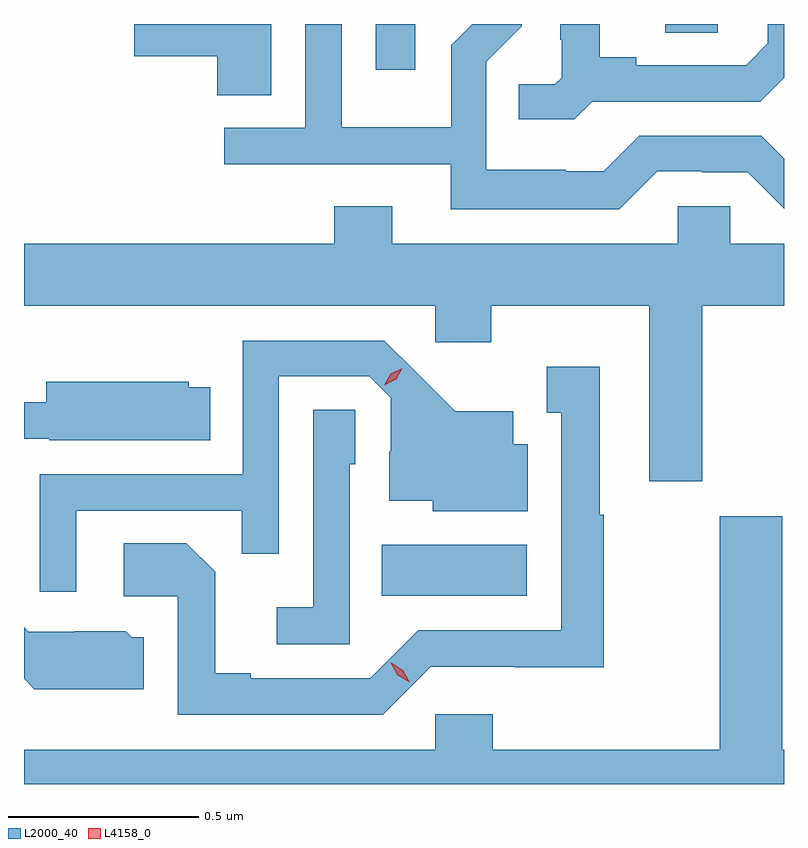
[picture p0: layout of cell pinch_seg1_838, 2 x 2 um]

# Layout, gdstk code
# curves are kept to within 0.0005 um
import gdstk
lib = gdstk.Library(unit=1e-6, precision=1e-09)
def R(c, l, rs):  # rectangles x0, y0, x1, y1
    for r in rs: c.add(gdstk.rectangle(r[:2], r[2:], *l))
def P(c, l, *ps):  # polygons
    for p in ps: c.add(gdstk.Polygon(p, *l))
L2000_40 = (2000, 40)
L4158_0 = (4158, 0)

pinch_seg1_838 = lib.new_cell('pinch_seg1_838')
R(pinch_seg1_838, L2000_40, [(470.812,561.626,471.193,561.76), (470.795,563.01,470.899,563.13), (471.557,563.107,471.696,563.13)])
P(pinch_seg1_838, L2000_40, [(471.537,562.743),(471.654,562.743),(471.654,562.74),(471.774,562.74),(471.87,562.644),(471.87,562.776),(471.81,562.836),(471.489,562.836),(471.396,562.743),(471.296,562.743),(471.296,562.747),(471.087,562.747),(471.087,563.031),(471.18,563.124),(471.18,563.13),(471.05,563.13),(470.994,563.074),(470.994,562.858),(470.706,562.858),(470.706,563.13),(470.61,563.13),(470.61,562.857),(470.397,562.857),(470.397,562.761),(470.993,562.761),(470.993,562.643),(471.437,562.643)],
  [(471.366,562.926),(471.808,562.926),(471.87,562.988),(471.87,563.13),(471.827,563.13),(471.827,563.079),(471.77,563.022),(471.481,563.022),(471.481,563.042),(471.385,563.042),(471.385,563.13),(471.281,563.13),(471.281,563.089),(471.285,563.089),(471.285,562.989),(471.267,562.971),(471.172,562.971),(471.172,562.879),(471.318,562.879)],
  [(470.521,563.13),(470.16,563.13),(470.16,563.045),(470.378,563.045),(470.378,562.942),(470.521,562.942)],
  [(471.655,562.388),(471.87,562.388),(471.87,562.552),(471.729,562.552),(471.729,562.65),(471.591,562.65),(471.591,562.552),(470.839,562.552),(470.839,562.651),(470.687,562.651),(470.687,562.552),(469.87,562.552),(469.87,562.388),(470.952,562.388),(470.952,562.293),(471.099,562.293),(471.099,562.388),(471.515,562.388),(471.515,561.927),(471.655,561.927)],
  [(470.007,561.849),(470.443,561.849),(470.443,561.736),(470.541,561.736),(470.541,562.203),(470.778,562.203),(470.835,562.146),(470.835,562.004),(470.831,562.004),(470.831,561.875),(470.946,561.875),(470.946,561.848),(471.196,561.848),(471.196,562.024),(471.157,562.024),(471.157,562.111),(471.005,562.111),(470.818,562.296),(470.445,562.296),(470.445,561.945),(469.911,561.945),(469.911,561.636),(470.007,561.636)],
  [(470.94,561.438),(471.162,561.438),(471.162,561.437),(471.395,561.437),(471.395,561.839),(471.385,561.839),(471.385,562.228),(471.245,562.228),(471.245,562.107),(471.284,562.107),(471.284,561.534),(470.907,561.534),(470.781,561.408),(470.467,561.408),(470.467,561.421),(470.373,561.421),(470.373,561.688),(470.297,561.764),(470.133,561.764),(470.133,561.624),(470.274,561.624),(470.274,561.312),(470.814,561.312)],
  [(470.36,562.174),(470.304,562.174),(470.304,562.189),(469.928,562.189),(469.928,562.135),(469.87,562.135),(469.87,562.038),(469.936,562.038),(469.936,562.034),(470.36,562.034)],
  [(470.727,561.972),(470.742,561.972),(470.742,562.115),(470.631,562.115),(470.631,561.595),(470.535,561.595),(470.535,561.498),(470.727,561.498)],
  [(471.87,561.22),(471.865,561.22),(471.865,561.835),(471.701,561.835),(471.701,561.22),(471.104,561.22),(471.104,561.313),(470.952,561.313),(470.952,561.22),(469.87,561.22),(469.87,561.13),(471.87,561.13)],
  [(470.185,561.516),(470.154,561.516),(470.138,561.532),(470.004,561.532),(470.004,561.531),(469.881,561.531),(469.87,561.542),(469.87,561.407),(469.897,561.38),(470.185,561.38)])
P(pinch_seg1_838, L4158_0, [(470.818,562.179),(470.818,562.18),(470.835,562.209),(470.866,562.224),(470.866,562.224),(470.866,562.224),(470.849,562.195),(470.818,562.179)],
  [(470.885,561.398),(470.853,561.416),(470.835,561.449),(470.835,561.449),(470.836,561.449),(470.867,561.43),(470.885,561.398),(470.885,561.398)])

lib.write_gds('pinch_seg1_838.gds')
